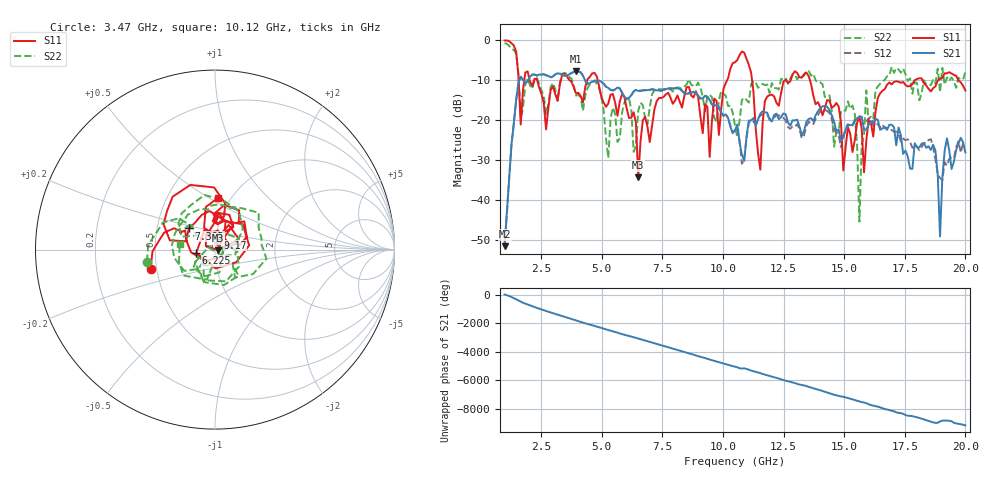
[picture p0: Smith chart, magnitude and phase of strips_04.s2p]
!Agilent Technologies,N5230A,MY45001629,A.07.50.67
!Agilent N5230A: A.07.50.67
!Date: Monday, June 05, 2017 16:31:24
!Correction: S11(Full 2 Port(1,2))
!S21(Full 2 Port(1,2))
!S12(Full 2 Port(1,2))
!S22(Full 2 Port(1,2))
!S2P File: Measurements: S11, S21, S12, S22:
# Hz S  dB  R 50
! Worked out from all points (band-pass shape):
!   201 points, 1 GHz to 20 GHz, reference 50 ohm
!   highest |S21| = -7.93 dB at 3.945 GHz (marker M1); lowest = -51.5 dB at 1 GHz (marker M2)
!   |S21| within 3 dB of the highest: 1.565 GHz to 4.406 GHz (2.841 GHz wide, 95.2 % of centre); 4.48 GHz to 5.069 GHz (588.4 MHz wide, 12.3 % of centre)
!   lowest |S11| = -34.4 dB at 6.51 GHz (marker M3), VSWR 1.04, Z = 51.9 - j0.377 ohm
!   |S11| at or under -10 dB: 4.831 GHz to 10.19 GHz (5.355 GHz wide, 71.3 % of centre); 11.2 GHz to 12.8 GHz (1.604 GHz wide, 13.4 % of centre); 13.58 GHz to 17.95 GHz (4.369 GHz wide, 27.7 % of centre)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
!   |S22| runs from -45.4 to -0.9 dB; largest |S21 - S12| = 0.032
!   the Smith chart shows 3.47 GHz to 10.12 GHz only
!   S11 on the Smith chart (normalised r, x): 3.47 GHz: 0.46, -0.11; 6.225 GHz: 0.81, -0.03; 7.365 GHz: 0.73, +0.18; 9.17 GHz: 1.02, +0.14; 10.12 GHz: 0.87, +0.55
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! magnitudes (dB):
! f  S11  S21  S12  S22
! 1 GHz  -0.2  -51.5  -50.9  -0.9
! 1.57 GHz  -8.9  -10.7  -10.7  -8.7
! 3.47 GHz  -8.6  -9.0  -9.0  -8.3
! 3.945 GHz  -13.5  -7.9  -7.9  -14.0
! 4.23 GHz  -15.7  -9.0  -9.0  -17.8
! 6.225 GHz  -19.5  -13.9  -13.9  -17.5
! 6.51 GHz  -34.4  -12.8  -12.7  -17.8
! 7.365 GHz  -14.6  -12.7  -12.8  -12.4
! 9.17 GHz  -23.4  -14.7  -14.8  -14.4
! 10.12 GHz  -10.8  -18.7  -18.7  -14.0
! 10.5 GHz  -5.7  -22.7  -22.7  -21.5
! 11.54 GHz  -32.5  -18.5  -19.0  -11.4
! 11.83 GHz  -14.2  -18.2  -18.7  -11.2
! 13.73 GHz  -14.0  -20.3  -21.1  -8.5
! 15.35 GHz  -28.0  -21.3  -21.4  -16.5
! 15.63 GHz  -19.2  -19.2  -20.1  -45.4
! 15.91 GHz  -25.2  -22.5  -20.3  -12.7
! 16.86 GHz  -10.7  -21.2  -22.5  -8.9
! 18.67 GHz  -12.1  -26.2  -26.9  -10.1
! 18.95 GHz  -9.7  -49.1  -34.5  -13.1
! 19.24 GHz  -8.4  -24.6  -31.4  -9.5
! 20 GHz  -12.7  -28.2  -25.5  -8.1
